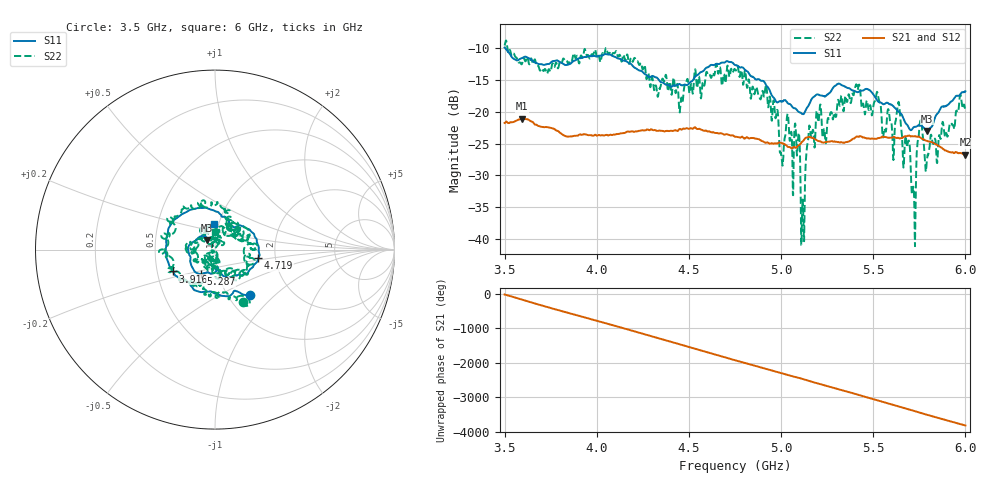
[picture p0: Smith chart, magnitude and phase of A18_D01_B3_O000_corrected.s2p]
! Created with skrf 1.9.0 (http://scikit-rf.org).
# Hz S RI R 50.0
!freq ReS11 ImS11 ReS21 ImS21 ReS12 ImS12 ReS22 ImS22
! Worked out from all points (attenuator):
!   1601 points, 3.5 GHz to 6 GHz, reference 50 ohm
!   highest |S21| = -21.09 dB at 3.592 GHz (marker M1); lowest = -26.7 dB at 6 GHz (marker M2)
!   lowest |S11| = -23.0 dB at 5.791 GHz (marker M3), VSWR 1.15, Z = 45.4 + j4.9 ohm
!   |S11| at or under -10 dB: 3.504 GHz to end of sweep
!   |S22| runs from -41.1 to -8.8 dB; largest |S21 - S12| = 0.0012
!   S11 on the Smith chart (normalised r, x): 3.5 GHz: 1.26, -0.71; 3.916 GHz: 0.60, -0.16; 4.719 GHz: 1.63, -0.16; 5.287 GHz: 0.82, -0.23; 6 GHz: 0.95, +0.28
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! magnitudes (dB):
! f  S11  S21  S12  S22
! 3.5 GHz  -9.9  -21.8  -21.8  -9.6
! 3.592 GHz  -11.6  -21.1  -21.1  -12.5
! 3.916 GHz  -11.6  -23.6  -23.6  -11.2
! 3.917 GHz  -11.5  -23.6  -23.6  -11.2
! 4.334 GHz  -14.9  -23.0  -22.9  -17.2
! 4.719 GHz  -12.2  -23.7  -23.7  -14.4
! 4.75 GHz  -12.6  -23.9  -23.9  -13.3
! 4.969 GHz  -18.2  -25.0  -24.9  -21.0
! 5.003 GHz  -18.4  -24.9  -25.0  -27.4
! 5.031 GHz  -18.5  -25.4  -25.3  -21.0
! 5.086 GHz  -19.7  -25.5  -25.5  -26.9
! 5.117 GHz  -20.4  -24.7  -24.6  -33.8
! 5.145 GHz  -19.2  -24.0  -24.0  -24.7
! 5.167 GHz  -17.9  -24.1  -24.1  -23.8
! 5.287 GHz  -16.0  -24.7  -24.7  -20.2
! 5.414 GHz  -16.9  -23.9  -23.9  -16.3
! 5.584 GHz  -18.7  -24.1  -24.1  -19.8
! 5.641 GHz  -20.1  -24.2  -24.2  -18.9
! 5.719 GHz  -22.4  -23.9  -23.8  -32.0
! 5.752 GHz  -22.1  -24.0  -24.0  -21.9
! 5.791 GHz  -23.0  -24.6  -24.5  -27.7
! 6 GHz  -16.8  -26.7  -26.7  -20.0
